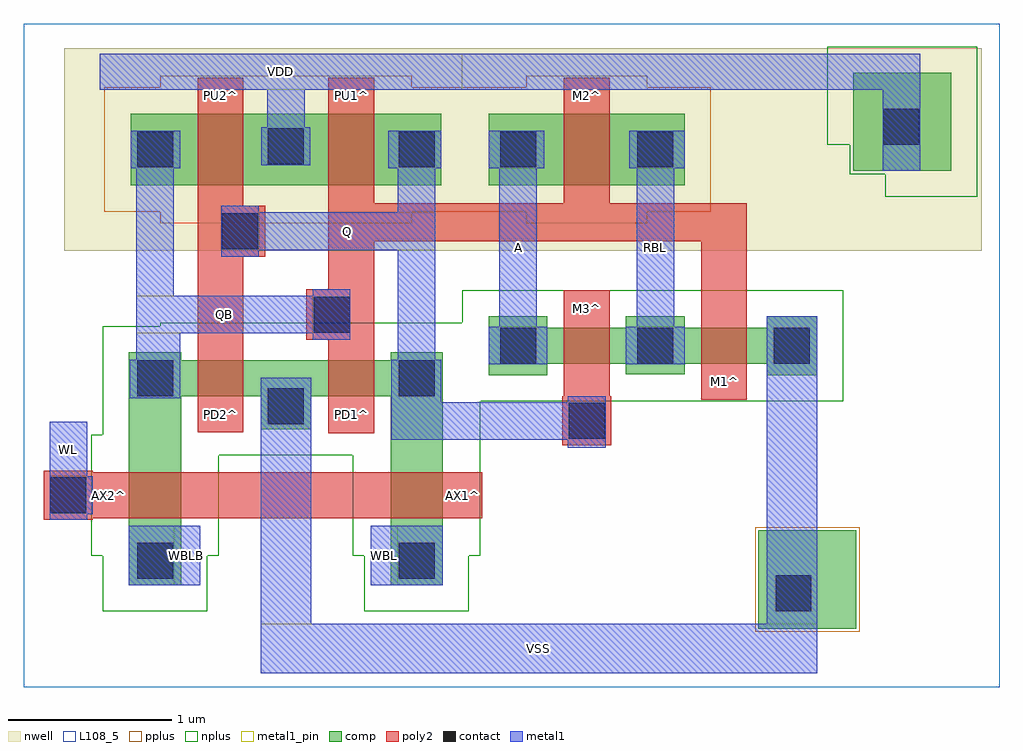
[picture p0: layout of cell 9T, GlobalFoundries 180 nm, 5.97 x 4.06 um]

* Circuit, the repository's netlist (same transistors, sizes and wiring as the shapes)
** sch_path: /workspace/analog/designs/9T_03v3.sch
.subckt 9T RBL VSS VDD WL WBL WBLB Q QB A
*.PININFO RBL:O VSS:I VDD:I WL:I WBL:I WBLB:I Q:O QB:O A:I
XM1 RBL QB VSS VSS nfet_03v3 L=0.28u W=0.22u nf=1
XPD1 QB Q VSS VSS nfet_03v3 L=0.28u W=0.22u nf=1
XPU1 QB Q VDD VDD pfet_03v3 L=0.28u W=0.44u nf=1
XAX1 WBLB WL QB VSS nfet_03v3 L=0.28u W=0.32u nf=1
XAX2 WBL WL Q VSS nfet_03v3 L=0.28u W=0.32u nf=1
XPU2 Q QB VDD VDD pfet_03v3 L=0.28u W=0.44u nf=1
XPD2 Q QB VSS VSS nfet_03v3 L=0.28u W=0.22u nf=1
XM2 RBL QB A VDD pfet_03v3 L=0.28u W=0.44u nf=1
XM3 A Q RBL VSS nfet_03v3 L=0.28u W=0.22u nf=1
.ends

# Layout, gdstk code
import gdstk
lib = gdstk.Library(unit=1e-6, precision=1e-09)
def R(c, l, rs):  # rectangles x0, y0, x1, y1
    for r in rs: c.add(gdstk.rectangle(r[:2], r[2:], *l))
nwell = (21, 0)
comp = (22, 0)
poly2 = (30, 0)
pplus = (31, 0)
nplus = (32, 0)
contact = (33, 0)
metal1 = (34, 0)
metal1_pin = (34, 10)
L108_5 = (108, 5)

c_9t = lib.new_cell('9T')
R(c_9t, nwell, [(-0.5,-0.39,5.11,0.85)])
R(c_9t, comp, [(3.745,-2.7,4.345,-2.1), (-0.105,-2.435,0.215,-1.28), (1.495,-2.435,1.815,-1.28), (0.7,-1.48,1.01,-1.28), (-0.105,-1.28,1.815,-1.06), (2.095,-1.15,2.455,-1.08), (3.795,-1.15,4.105,-1.08), (2.935,-1.145,3.295,-1.08), (2.095,-1.08,4.105,-0.86), (-0.105,-1.06,0.215,-1.01), (1.495,-1.06,1.815,-1.01), (2.095,-0.86,2.455,-0.79), (2.935,-0.86,3.295,-0.79), (3.795,-0.86,4.105,-0.79), (-0.095,0.01,1.805,0.45), (2.095,0.01,3.295,0.45), (4.325,0.1,4.925,0.7)])
R(c_9t, poly2, [(-0.625,-2.035,-0.325,-2.025), (-0.625,-2.025,2.055,-1.745), (-0.625,-1.745,-0.325,-1.735), (2.545,-1.58,2.845,-1.28), (1.115,-1.505,1.395,-0.935), (0.315,-1.5,0.595,-0.425), (3.395,-1.3,3.675,-0.33), (2.555,-1.28,2.835,-0.63), (0.98,-0.935,1.395,-0.625), (1.115,-0.625,1.395,-0.33), (0.315,-0.425,0.73,-0.115), (1.115,-0.33,3.675,-0.1), (0.315,-0.115,0.595,0.67), (1.115,-0.1,1.395,0.67), (2.555,-0.1,2.835,0.67)])
R(c_9t, pplus, [(3.725,-2.72,4.365,-2.08), (0.085,-0.22,1.625,-0.15), (2.325,-0.22,3.065,-0.15), (-0.255,-0.15,3.455,0.61), (0.085,0.61,1.625,0.68), (2.325,0.61,3.065,0.68)])
R(c_9t, nplus, [(-0.265,-2.595,0.375,-2.255), (1.335,-2.595,1.975,-2.255), (-0.335,-2.255,0.445,-1.64), (1.265,-2.255,2.045,-1.64), (-0.335,-1.64,2.045,-1.515), (-0.265,-1.515,2.045,-1.31), (-0.265,-1.31,4.265,-0.85), (0.085,-0.85,4.265,-0.83), (1.935,-0.83,4.265,-0.63), (4.52,-0.06,5.085,0.08), (4.305,0.08,5.085,0.26), (4.165,0.26,5.085,0.86)])
R(c_9t, contact, [(3.85,-2.595,4.07,-2.375), (-0.055,-2.395,0.165,-2.175), (1.545,-2.395,1.765,-2.175), (-0.585,-1.995,-0.365,-1.775), (2.585,-1.54,2.805,-1.32), (0.745,-1.45,0.965,-1.23), (-0.055,-1.28,0.165,-1.06), (1.545,-1.28,1.765,-1.06), (2.165,-1.08,2.385,-0.86), (3.005,-1.08,3.225,-0.86), (3.84,-1.08,4.06,-0.86), (1.025,-0.89,1.245,-0.67), (0.465,-0.38,0.685,-0.16), (-0.055,0.12,0.165,0.34), (1.545,0.12,1.765,0.34), (2.165,0.12,2.385,0.34), (3.005,0.12,3.225,0.34), (0.745,0.14,0.965,0.36), (4.51,0.26,4.73,0.48)])
R(c_9t, metal1, [(0.7,-2.975,4.105,-2.67), (0.7,-2.67,1.01,-1.165), (3.795,-2.67,4.105,-0.79), (-0.105,-2.435,0.33,-2.07), (1.375,-2.435,1.815,-2.07), (-0.59,-2.035,-0.36,-2), (-0.59,-2,-0.325,-1.77), (-0.59,-1.77,-0.36,-1.435), (2.58,-1.595,2.81,-1.545), (1.5,-1.545,2.81,-1.315), (1.5,-1.315,1.805,-1.055), (2.58,-1.315,2.81,-1.28), (-0.1,-1.29,0.21,-1.055), (2.095,-1.085,2.455,-0.855), (2.935,-1.085,3.295,-0.855), (-0.06,-1.055,0.21,-0.895), (1.54,-1.055,1.77,-0.385), (1.02,-0.935,1.25,-0.895), (-0.06,-0.895,1.25,-0.665), (2.16,-0.855,2.39,0.115), (3,-0.855,3.23,0.115), (-0.06,-0.665,0.17,0.115), (1.02,-0.665,1.25,-0.625), (0.46,-0.425,0.69,-0.385), (0.46,-0.385,1.77,-0.155), (0.46,-0.155,0.69,-0.115), (1.54,-0.155,1.77,0.115), (4.505,0.1,4.735,0.595), (-0.095,0.115,0.21,0.345), (1.48,0.115,1.805,0.345), (2.095,0.115,2.435,0.345), (2.955,0.115,3.295,0.345), (0.705,0.135,1.005,0.365), (0.74,0.365,0.97,0.595), (-0.285,0.595,4.735,0.815)])
R(c_9t, metal1_pin, [(0.7,-2.975,4.105,-2.67), (0.17,-2.435,0.33,-2.07), (1.375,-2.435,1.54,-2.07), (-0.59,-1.77,-0.36,-1.435), (-0.06,-0.895,1.02,-0.665), (2.16,-0.855,2.39,0.115), (3,-0.855,3.23,0.115), (0.69,-0.385,1.77,-0.155), (-0.285,0.595,1.935,0.815)])
R(c_9t, L108_5, [(-0.75,-3.06,5.22,1)])
c_9t.add(gdstk.Label('PU2^', (0.455,0.56), layer=30, texttype=0))
c_9t.add(gdstk.Label('PD2^', (0.455,-1.39), layer=30, texttype=0))
c_9t.add(gdstk.Label('PD1^', (1.255,-1.39), layer=30, texttype=0))
c_9t.add(gdstk.Label('PU1^', (1.255,0.56), layer=30, texttype=0))
c_9t.add(gdstk.Label('M2^', (2.695,0.56), layer=30, texttype=0))
c_9t.add(gdstk.Label('M1^', (3.535,-1.19), layer=30, texttype=0))
c_9t.add(gdstk.Label('M3^', (2.695,-0.745), layer=30, texttype=0))
c_9t.add(gdstk.Label('AX2^', (-0.23,-1.885), layer=30, texttype=0))
c_9t.add(gdstk.Label('AX1^', (1.935,-1.885), layer=30, texttype=0))
c_9t.add(gdstk.Label('VDD', (0.825,0.705), layer=34, texttype=10))
c_9t.add(gdstk.Label('WBLB', (0.25,-2.252), layer=34, texttype=10))
c_9t.add(gdstk.Label('WBL', (1.457,-2.252), layer=34, texttype=10))
c_9t.add(gdstk.Label('VSS', (2.402,-2.822), layer=34, texttype=10))
c_9t.add(gdstk.Label('A', (2.275,-0.37), layer=34, texttype=10))
c_9t.add(gdstk.Label('Q', (1.23,-0.27), layer=34, texttype=10))
c_9t.add(gdstk.Label('RBL', (3.115,-0.37), layer=34, texttype=10))
c_9t.add(gdstk.Label('WL', (-0.475,-1.602), layer=34, texttype=10))
c_9t.add(gdstk.Label('QB', (0.48,-0.78), layer=34, texttype=10))

lib.write_gds('9T.gds')
